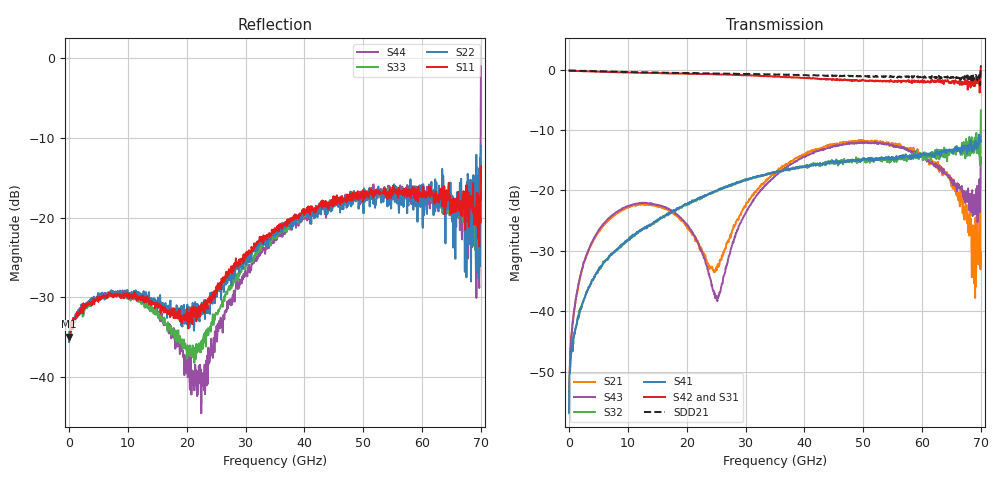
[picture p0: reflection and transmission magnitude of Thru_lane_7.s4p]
! 4/13/2026 10:42:45 AM
! C:\ANRITSUVNA\DATA\SARA\2026-04-13 T5 MZDRV\DEEMB STRUCTURES\THRU_0.S4P
! CHANNEL.1
! TR.MEASUREMENT
! CORRECTED.DATA
! RF.CORRECTION: FULL.FOUR.PORT.CAL.PORT.1.2.3.4
! AVERAGING.OFF
! IF.BANDWIDTH: 1KHZ
! SWEEPTYPE:  FREQ.SWEEP(Linear)
! Reference Plane Port Info
! PORT:  PORT1  PORT2  PORT3  PORT4
! DISTANCE:  0  m  0  m  0  m  0  m
! TIME:  0  s  0  s  0  s  0  s
! PHASE.OFFSET:  0 °  0 °  0 °  0 °
! LOSS:  0  dB  0  dB  0  dB  0  dB
! REF.LOSS:  0  dB  0  dB  0  dB  0  dB
! REF.FREQ:  0  Hz  0  Hz  0  Hz  0  Hz
! Power Info
! POWER:  -20  dBm  -20  dBm  -20  dBm  -20  dBm
! EFF.POWER:  -20  dBm  -20  dBm  -20  dBm  -20  dBm
! SOURCE.ATTEN:  0  dB  0  dB  0  dB  0  dB
! TEST.ATTEN:  0  dB  0  dB  0  dB  0  dB
# HZ S DB R 50.0
! FREQ.HZ  S11DB  S11A  S12DB  S12A  S13DB  S13A  S14DB  S14A
!  S21DB  S21A  S22DB  S22A  S23DB  S23A  S24DB  S24A
!  S31DB  S31A  S32DB  S32A  S33DB  S33A  S34DB  S34A
!  S41DB  S41A  S42DB  S42A  S43DB  S43A  S44DB  S44A
!; PortSelection: Port_1234
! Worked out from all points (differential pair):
!   1001 points, 10 MHz to 70 GHz, reference 50 ohm
!   strongest paths, dB at 10 MHz, 17.51 GHz, 35.01 GHz, 52.5 GHz, 70 GHz:
!     S42: -0.2, -0.6, -1.1, -1.9, 0.6
!     S31: -0.1, -0.6, -1.1, -1.8, -2.3
!     S41: -56.6, -23.5, -17.0, -14.9, -11.9
!     S32: -56.9, -23.6, -16.9, -14.7, -6.7
!     S43: -56.1, -23.4, -17.6, -12.2, -14.5
!     S21: -55.6, -23.7, -17.1, -12.0, -30.3
!   taken as a pair (ports 2,1 in; 4,3 out), SDD21 dB: -0.1, -0.5, -0.8, -1.2, 0.6
!   lowest |S11| = -35.0 dB at 10 MHz (marker M1), VSWR 1.04, Z = 51.8 + j0.0276 ohm
!   |S11| at or under -10 dB: start of sweep to end of sweep
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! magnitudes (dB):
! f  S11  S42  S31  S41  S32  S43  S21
! 10 MHz  -35.0  -0.2  -0.1  -56.6  -56.9  -56.1  -55.6
! 2.74 GHz  -30.9  -0.3  -0.2  -37.5  -37.4  -31.3  -31.5
! 10.72 GHz  -29.6  -0.5  -0.5  -27.6  -27.8  -22.4  -22.5
! 25.14 GHz  -29.5  -0.8  -0.8  -20.0  -20.1  -38.1  -32.6
! 49.56 GHz  -17.5  -1.9  -1.8  -15.1  -14.9  -12.1  -11.7
! 69.44 GHz  -16.9  -1.6  -1.8  -12.7  -13.0  -25.3  -27.3
! 70 GHz  -13.6  0.6  -2.3  -11.9  -6.7  -14.5  -30.3
